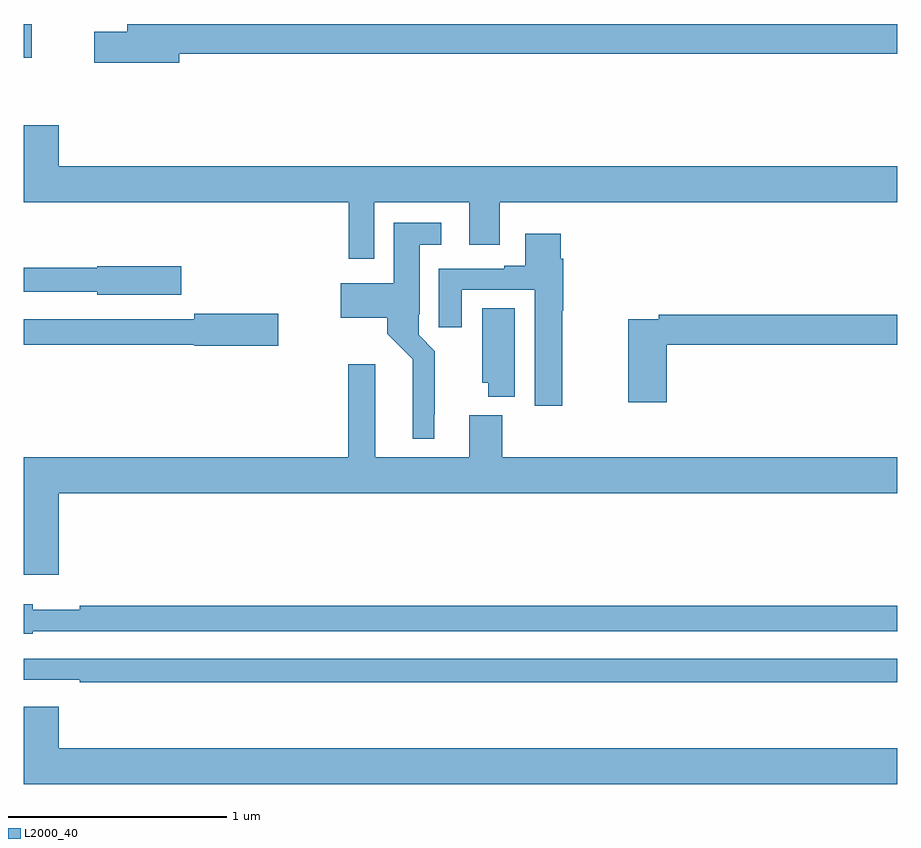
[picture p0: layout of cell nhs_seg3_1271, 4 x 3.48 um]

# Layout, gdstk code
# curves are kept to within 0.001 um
import gdstk
lib = gdstk.Library(unit=1e-6, precision=1e-09)
def R(c, l, rs):  # rectangles x0, y0, x1, y1
    for r in rs: c.add(gdstk.rectangle(r[:2], r[2:], *l))
def P(c, l, *ps):  # polygons
    for p in ps: c.add(gdstk.Polygon(p, *l))
L2000_40 = (2000, 40)

nhs_seg3_1271 = lib.new_cell('nhs_seg3_1271')
R(nhs_seg3_1271, L2000_40, [(177,700.246,177.037,700.4)])
P(nhs_seg3_1271, L2000_40, [(177.712,700.264),(181,700.264),(181,700.4),(177.473,700.4),(177.473,700.364),(177.324,700.364),(177.324,700.222),(177.712,700.222)],
  [(178.605,699.584),(179.039,699.584),(179.039,699.39),(179.179,699.39),(179.179,699.584),(181,699.584),(181,699.748),(177.16,699.748),(177.16,699.937),(177,699.937),(177,699.584),(178.489,699.584),(178.489,699.324),(178.605,699.324)],
  [(178.879,698.611),(178.883,698.611),(178.883,698.902),(178.809,698.976),(178.809,699.07),(178.813,699.07),(178.813,699.389),(178.912,699.389),(178.912,699.49),(178.694,699.49),(178.694,699.214),(178.452,699.214),(178.452,699.056),(178.664,699.056),(178.664,698.982),(178.782,698.864),(178.781,698.501),(178.879,698.501)],
  [(179.466,699.086),(179.471,699.086),(179.471,699.326),(179.458,699.326),(179.458,699.439),(179.297,699.439),(179.297,699.292),(179.201,699.292),(179.201,699.279),(178.901,699.279),(178.901,699.012),(179.005,699.012),(179.005,699.183),(179.339,699.183),(179.339,698.652),(179.466,698.652)],
  [(177.721,699.291),(177.336,699.291),(177.336,699.283),(177,699.283),(177,699.174),(177.336,699.174),(177.336,699.161),(177.721,699.161)],
  [(179.248,699.098),(179.099,699.098),(179.099,698.757),(179.126,698.757),(179.126,698.693),(179.248,698.693)],
  [(178.165,699.074),(177.78,699.074),(177.78,699.048),(177,699.048),(177,698.932),(177.78,698.932),(177.78,698.927),(178.165,698.927)],
  [(179.945,698.932),(181,698.932),(181,699.068),(179.908,699.068),(179.908,699.048),(179.767,699.048),(179.767,698.667),(179.945,698.667)],
  [(177.16,698.252),(181,698.252),(181,698.416),(179.192,698.416),(179.192,698.608),(179.039,698.608),(179.039,698.416),(178.609,698.416),(178.609,698.842),(178.487,698.842),(178.487,698.416),(177,698.416),(177,697.878),(177.16,697.878)],
  [(177.042,697.62),(181,697.62),(181,697.736),(177.256,697.736),(177.256,697.717),(177.042,697.717),(177.042,697.742),(177,697.742),(177,697.607),(177.042,697.607)],
  [(181,697.494),(177,697.494),(177,697.398),(177.256,697.398),(177.256,697.386),(181,697.386)],
  [(181,697.084),(177.16,697.084),(177.16,697.273),(177,697.273),(177,696.92),(181,696.92)])

lib.write_gds('nhs_seg3_1271.gds')
